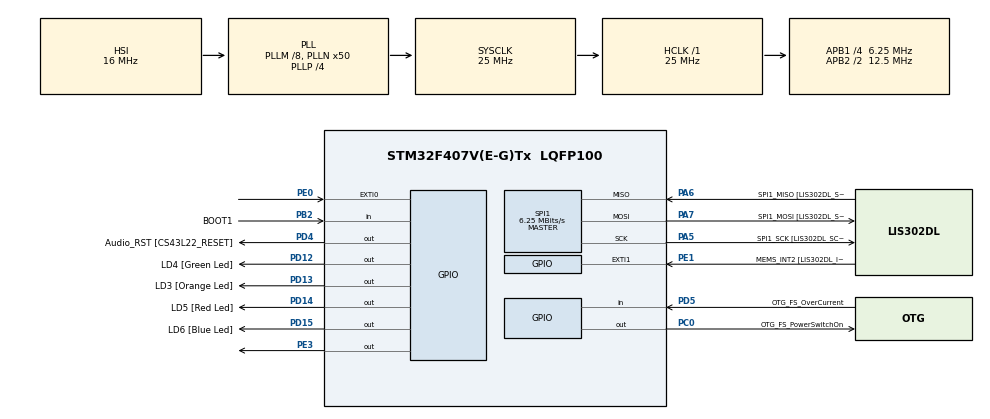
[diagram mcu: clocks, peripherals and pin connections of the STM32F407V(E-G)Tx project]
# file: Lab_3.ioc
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Mcu.Family=STM32F4
Mcu.Name=STM32F407V(E-G)Tx
Mcu.Package=LQFP100
NVIC.EXTI0_IRQn=true\:15\:0\:true\:false\:true\:true\:true\:true
NVIC.PriorityGroup=NVIC_PRIORITYGROUP_4
NVIC.TIM7_IRQn=true\:0\:0\:true\:false\:true\:false\:true\:true
NVIC.TimeBase=TIM7_IRQn
NVIC.TimeBaseIP=TIM7
PA10.GPIO_Label=OTG_FS_ID
PA10.GPIO_Mode=GPIO_MODE_AF_PP
PA10.GPIO_PuPd=GPIO_NOPULL
PA10.GPIO_Speed=GPIO_SPEED_FREQ_LOW
PA10.Signal=USB_OTG_FS_ID
PA11.GPIO_Label=OTG_FS_DM
PA11.GPIO_Mode=GPIO_MODE_AF_PP
PA11.GPIO_PuPd=GPIO_NOPULL
PA11.GPIO_Speed=GPIO_SPEED_FREQ_LOW
PA11.Signal=USB_OTG_FS_DM
PA12.GPIO_Label=OTG_FS_DP
PA12.GPIO_Mode=GPIO_MODE_AF_PP
PA12.GPIO_PuPd=GPIO_NOPULL
PA12.GPIO_Speed=GPIO_SPEED_FREQ_LOW
PA12.Signal=USB_OTG_FS_DP
PA13.GPIO_Label=SWDIO
PA13.Mode=Serial_Wire
PA13.Signal=SYS_JTMS-SWDIO
PA14.GPIO_Label=SWCLK
PA14.Mode=Serial_Wire
PA14.Signal=SYS_JTCK-SWCLK
PA4.GPIO_Label=I2S3_WS [CS43L22_LRCK]
PA4.GPIO_Mode=GPIO_MODE_AF_PP
PA4.GPIO_PuPd=GPIO_NOPULL
PA4.GPIO_Speed=GPIO_SPEED_FREQ_LOW
PA4.Signal=I2S3_WS
PA5.GPIO_Label=SPI1_SCK [LIS302DL_SCL/SPC]
PA5.GPIO_Mode=GPIO_MODE_AF_PP
PA5.GPIO_PuPd=GPIO_NOPULL
PA5.GPIO_Speed=GPIO_SPEED_FREQ_LOW
PA5.Mode=Full_Duplex_Master
PA5.Signal=SPI1_SCK
PA6.GPIO_Label=SPI1_MISO [LIS302DL_SDO]
PA6.GPIO_Mode=GPIO_MODE_AF_PP
PA6.GPIO_PuPd=GPIO_NOPULL
PA6.GPIO_Speed=GPIO_SPEED_FREQ_LOW
PA6.Mode=Full_Duplex_Master
PA6.Signal=SPI1_MISO
PA7.GPIO_Label=SPI1_MOSI [LIS302DL_SDA/SDI/SDO]
PA7.GPIO_Mode=GPIO_MODE_AF_PP
PA7.GPIO_PuPd=GPIO_NOPULL
PA7.GPIO_Speed=GPIO_SPEED_FREQ_LOW
PA7.Mode=Full_Duplex_Master
PA7.Signal=SPI1_MOSI
PA9.GPIO_Label=VBUS_FS
PA9.GPIO_Mode=GPIO_MODE_INPUT
PA9.GPIO_PuPd=GPIO_NOPULL
PA9.Signal=USB_OTG_FS_VBUS
PB10.GPIO_Label=CLK_IN [MP45DT02_CLK]
PB10.GPIO_Mode=GPIO_MODE_AF_PP
PB10.GPIO_PuPd=GPIO_NOPULL
PB10.GPIO_Speed=GPIO_SPEED_FREQ_LOW
PB10.Signal=I2S2_CK
PB2.GPIO_Label=BOOT1
PB2.GPIO_Mode=GPIO_MODE_INPUT
PB2.GPIO_PuPd=GPIO_NOPULL
PB2.Signal=GPIO_Input
PB3.GPIO_Label=SWO
PB3.Signal=SYS_JTDO-SWO
PB6.GPIO_Label=Audio_SCL [CS43L22_SCL]
PB6.GPIO_Mode=GPIO_MODE_AF_OD
PB6.GPIO_PuPd=GPIO_NOPULL
PB6.GPIO_Speed=GPIO_SPEED_FREQ_LOW
PB6.Signal=I2C1_SCL
PB9.GPIO_Label=Audio_SDA [CS43L22_SDA]
PB9.GPIO_Mode=GPIO_MODE_AF_OD
PB9.GPIO_PuPd=GPIO_NOPULL
PB9.GPIO_Speed=GPIO_SPEED_FREQ_LOW
PB9.Signal=I2C1_SDA
PC0.GPIO_Label=OTG_FS_PowerSwitchOn
PC0.GPIO_PuPd=GPIO_NOPULL
PC0.GPIO_Speed=GPIO_SPEED_FREQ_LOW
PC0.PinState=GPIO_PIN_SET
PC0.Signal=GPIO_Output
PC10.GPIO_Label=I2S3_SCK [CS43L22_SCLK]
PC10.GPIO_Mode=GPIO_MODE_AF_PP
PC10.GPIO_PuPd=GPIO_NOPULL
PC10.GPIO_Speed=GPIO_SPEED_FREQ_LOW
PC10.Signal=I2S3_CK
PC12.GPIO_Label=I2S3_SD [CS43L22_SDIN]
PC12.GPIO_Mode=GPIO_MODE_AF_PP
PC12.GPIO_PuPd=GPIO_NOPULL
PC12.GPIO_Speed=GPIO_SPEED_FREQ_LOW
PC12.Signal=I2S3_SD
PC14-OSC32_IN.GPIO_Label=PC14-OSC32_IN
PC14-OSC32_IN.Signal=RCC_OSC32_IN
PC15-OSC32_OUT.GPIO_Label=PC15-OSC32_OUT
PC15-OSC32_OUT.Signal=RCC_OSC32_OUT
PC3.GPIO_Label=PDM_OUT [MP45DT02_DOUT]
PC3.GPIO_Mode=GPIO_MODE_AF_PP
PC3.GPIO_PuPd=GPIO_NOPULL
PC3.GPIO_Speed=GPIO_SPEED_FREQ_LOW
PC3.Signal=I2S2_SD
PC7.GPIO_Label=I2S3_MCK [CS43L22_MCLK]
PC7.GPIO_Mode=GPIO_MODE_AF_PP
PC7.GPIO_PuPd=GPIO_NOPULL
PC7.GPIO_Speed=GPIO_SPEED_FREQ_LOW
PC7.Signal=I2S3_MCK
PD12.GPIO_Label=LD4 [Green Led]
PD12.GPIO_PuPd=GPIO_NOPULL
PD12.GPIO_Speed=GPIO_SPEED_FREQ_LOW
PD12.Signal=GPIO_Output
PD13.GPIO_Label=LD3 [Orange Led]
PD13.GPIO_PuPd=GPIO_NOPULL
PD13.GPIO_Speed=GPIO_SPEED_FREQ_LOW
PD13.Signal=GPIO_Output
PD14.GPIO_Label=LD5 [Red Led]
PD14.GPIO_PuPd=GPIO_NOPULL
PD14.GPIO_Speed=GPIO_SPEED_FREQ_LOW
PD14.Signal=GPIO_Output
PD15.GPIO_Label=LD6 [Blue Led]
PD15.GPIO_PuPd=GPIO_NOPULL
PD15.GPIO_Speed=GPIO_SPEED_FREQ_LOW
PD15.Signal=GPIO_Output
PD4.GPIO_Label=Audio_RST [CS43L22_RESET]
PD4.GPIO_PuPd=GPIO_NOPULL
PD4.GPIO_Speed=GPIO_SPEED_FREQ_LOW
PD4.Signal=GPIO_Output
PD5.GPIO_Label=OTG_FS_OverCurrent
PD5.GPIO_Mode=GPIO_MODE_INPUT
PD5.GPIO_PuPd=GPIO_NOPULL
PD5.Signal=GPIO_Input
PE0.Signal=GPXTI0
PE1.GPIO_Label=MEMS_INT2 [LIS302DL_INT2]
PE1.GPIO_ModeDefaultEXTI=GPIO_MODE_EVT_RISING
PE1.GPIO_PuPd=GPIO_NOPULL
PE1.Signal=GPXTI1
PE3.Signal=GPIO_Output
PH0-OSC_IN.GPIO_Label=PH0-OSC_IN
PH0-OSC_IN.Signal=RCC_OSC_IN
PH1-OSC_OUT.GPIO_Label=PH1-OSC_OUT
PH1-OSC_OUT.Signal=RCC_OSC_OUT
ProjectManager.HeapSize=0x200
ProjectManager.StackSize=0x400
ProjectManager.TargetToolchain=STM32CubeIDE
RCC.48MHZClocksFreq_Value=14285714.285714285
RCC.AHBFreq_Value=25000000
RCC.APB1CLKDivider=RCC_HCLK_DIV4
RCC.APB1Freq_Value=6250000
RCC.APB1TimFreq_Value=12500000
RCC.APB2CLKDivider=RCC_HCLK_DIV2
RCC.APB2Freq_Value=12500000
RCC.APB2TimFreq_Value=25000000
RCC.CortexFreq_Value=25000000
RCC.HCLKFreq_Value=25000000
RCC.HSE_VALUE=8000000
RCC.HSI_VALUE=16000000
RCC.LSE_VALUE=32768
RCC.PLLM=8
RCC.PLLN=50
RCC.PLLP=RCC_PLLP_DIV4
RCC.PLLQ=7
RCC.SYSCLKFreq_VALUE=25000000
RCC.SYSCLKSource=RCC_SYSCLKSOURCE_PLLCLK
RCC.VCOOutputFreq_Value=100000000
SPI1.CalculateBaudRate=6.25 MBits/s
SPI1.Direction=SPI_DIRECTION_2LINES
SPI1.Mode=SPI_MODE_MASTER
SPI1.VirtualType=VM_MASTER
VP_SYS_VS_tim7.Mode=TIM7
board=STM32F407G-DISC1

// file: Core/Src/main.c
/* USER CODE BEGIN Header */
/**
  ******************************************************************************
  * @file           : main.c
  * @brief          : Main program body
  ******************************************************************************
  * @attention
  *
  * Copyright (c) 2026 STMicroelectronics.
  * All rights reserved.
  *
  * This software is licensed under terms that can be found in the LICENSE file
  * in the root directory of this software component.
  * If no LICENSE file comes with this software, it is provided AS-IS.
  *
  ******************************************************************************
  */
/* USER CODE END Header */
#include "main.h"

SPI_HandleTypeDef hspi1;

/* USER CODE BEGIN PV */
SemaphoreHandle_t xSemaphore = NULL;
/* USER CODE END PV */

void SystemClock_Config(void);
static void MX_GPIO_Init(void);
static void MX_SPI1_Init(void);

/* USER CODE BEGIN 0 */
void HAL_GPIO_EXTI_Callback(uint16_t);

void MEMS_Write(uint8_t address,uint8_t data){
	HAL_GPIO_WritePin(GPIOE, GPIO_PIN_3, GPIO_PIN_RESET);
	HAL_SPI_Transmit(&hspi1,&address,1,10);
	HAL_SPI_Transmit(&hspi1,&data,1,10);
	HAL_GPIO_WritePin(GPIOE, GPIO_PIN_3,GPIO_PIN_SET);
}

void MEMS_Read(uint8_t address,uint8_t *data){
    address |= 0x80;
	HAL_GPIO_WritePin(GPIOE,GPIO_PIN_3,GPIO_PIN_RESET);
	HAL_SPI_Transmit(&hspi1,&address,1,10);
	HAL_SPI_Receive(&hspi1,data,1,10);
	HAL_GPIO_WritePin(GPIOE,GPIO_PIN_3,GPIO_PIN_SET);
}

void LED_Task(void *pvParameter)
{
	for(;;){
		uint8_t data;
		MEMS_Read(LIS3DSH_WHO_AM_I_ADDR,&data);
		if(data == 0x3F){
		  HAL_GPIO_TogglePin(GPIOD, GPIO_PIN_12);
		}
		vTaskDelay(500/portTICK_RATE_MS);
	}

}

void Green_LED_Task(void *pvParameters)
{
	for(;;)
	{
		// blinking GREEN LED
		HAL_GPIO_TogglePin(GPIOD, GPIO_PIN_12);
		vTaskDelay(pdMS_TO_TICKS(1000));
	}
}

void vHandlerTask( void *pvParameters )
{
	uint8_t dummy;

	for(;;)
		{
			/* Take the semaphore */
			if( xSemaphoreTake( xSemaphore, portMAX_DELAY ) == pdTRUE )
			{

				// blinking 5 times
				for( uint8_t i = 0 ; i < 10 ; ++i)
				{
					HAL_GPIO_TogglePin(GPIOD, GPIO_PIN_13);
			        uint32_t beginTime = HAL_GetTick();
			        while ((HAL_GetTick() - beginTime) < pdMS_TO_TICKS(250));
				}

				// clean out status
				MEMS_Read(LIS3DSH_OUTS1_ADDR, &dummy);

				// clean interrupt status
				__HAL_GPIO_EXTI_CLEAR_IT(GPIO_PIN_0);
				HAL_NVIC_ClearPendingIRQ(EXTI0_IRQn);

				// enable IRQ
				HAL_NVIC_EnableIRQ(EXTI0_IRQn);
			}

		}
}

void Motion_Interrupt_Init(void)
{
	MEMS_Write(LIS3DSH_CTRL_REG4_ADDR, 0x67);
    MEMS_Write(LIS3DSH_CTRL_REG1_ADDR, 0x01);
    MEMS_Write(LIS3DSH_CTRL_REG3_ADDR, 0x48);

    // threshold(0x40 too sensitive)
    MEMS_Write(LIS3DSH_THRS1_1_ADDR, 0x60);

    // mask P_X/N_X  P_Y/N_Y  P_Z/N_Z
    MEMS_Write(LIS3DSH_MASK1_B_ADDR, 0xFC);
    MEMS_Write(LIS3DSH_MASK1_A_ADDR, 0xFC);

    MEMS_Write(LIS3DSH_SETT1_ADDR, 0x01);

    // state machine
    MEMS_Write(LIS3DSH_ST1_1_ADDR, 0x05); // GNTH1
    MEMS_Write(LIS3DSH_ST1_2_ADDR, 0x11); // CONT
}

/* USER CODE BEGIN PFP */

/* USER CODE END PFP */

/* Private user code ---------------------------------------------------------*/
/* USER CODE BEGIN 0 */

/* USER CODE END 0 */

int main(void)
{

  /* MCU Configuration--------------------------------------------------------*/

  /* Reset of all peripherals, Initializes the Flash interface and the Systick. */
  HAL_Init();

  /* Configure the system clock */
  SystemClock_Config();

  /* Initialize all configured peripherals */
  MX_GPIO_Init();
  MX_SPI1_Init();
  /* USER CODE BEGIN 2 */

  Motion_Interrupt_Init();

  xSemaphore = xSemaphoreCreateBinary();

  if(xSemaphore != NULL) {
      xTaskCreate(Green_LED_Task, "Green_Task", 128, NULL, 1, NULL);
      xTaskCreate(vHandlerTask, "Handler_Task", 128, NULL, 4, NULL); // Higher priority

      vTaskStartScheduler();
  }
  /* USER CODE END 2 */

  /* Infinite loop */
  while (1)
  {

  }
}

void SystemClock_Config(void)
{
  RCC_OscInitTypeDef RCC_OscInitStruct = {0};
  RCC_ClkInitTypeDef RCC_ClkInitStruct = {0};

  /** Configure the main internal regulator output voltage
  */
  __HAL_RCC_PWR_CLK_ENABLE();
  __HAL_PWR_VOLTAGESCALING_CONFIG(PWR_REGULATOR_VOLTAGE_SCALE1);

  /** Initializes the RCC Oscillators according to the specified parameters
  * in the RCC_OscInitTypeDef structure.
  */
  RCC_OscInitStruct.OscillatorType = RCC_OSCILLATORTYPE_HSI;
  RCC_OscInitStruct.HSIState = RCC_HSI_ON;
  RCC_OscInitStruct.HSICalibrationValue = RCC_HSICALIBRATION_DEFAULT;
  RCC_OscInitStruct.PLL.PLLState = RCC_PLL_ON;
  RCC_OscInitStruct.PLL.PLLSource = RCC_PLLSOURCE_HSI;
  RCC_OscInitStruct.PLL.PLLM = 8;
  RCC_OscInitStruct.PLL.PLLN = 50;
  RCC_OscInitStruct.PLL.PLLP = RCC_PLLP_DIV4;
  RCC_OscInitStruct.PLL.PLLQ = 7;
  if (HAL_RCC_OscConfig(&RCC_OscInitStruct) != HAL_OK)
  {
    Error_Handler();
  }

  /** Initializes the CPU, AHB and APB buses clocks
  */
  RCC_ClkInitStruct.ClockType = RCC_CLOCKTYPE_HCLK|RCC_CLOCKTYPE_SYSCLK
                              |RCC_CLOCKTYPE_PCLK1|RCC_CLOCKTYPE_PCLK2;
  RCC_ClkInitStruct.SYSCLKSource = RCC_SYSCLKSOURCE_PLLCLK;
  RCC_ClkInitStruct.AHBCLKDivider = RCC_SYSCLK_DIV1;
  RCC_ClkInitStruct.APB1CLKDivider = RCC_HCLK_DIV4;
  RCC_ClkInitStruct.APB2CLKDivider = RCC_HCLK_DIV2;

  if (HAL_RCC_ClockConfig(&RCC_ClkInitStruct, FLASH_LATENCY_0) != HAL_OK)
  {
    Error_Handler();
  }
}

static void MX_SPI1_Init(void)
{

  /* SPI1 parameter configuration*/
  hspi1.Instance = SPI1;
  hspi1.Init.Mode = SPI_MODE_MASTER;
  hspi1.Init.Direction = SPI_DIRECTION_2LINES;
  hspi1.Init.DataSize = SPI_DATASIZE_8BIT;
  hspi1.Init.CLKPolarity = SPI_POLARITY_LOW;
  hspi1.Init.CLKPhase = SPI_PHASE_1EDGE;
  hspi1.Init.NSS = SPI_NSS_SOFT;
  hspi1.Init.BaudRatePrescaler = SPI_BAUDRATEPRESCALER_2;
  hspi1.Init.FirstBit = SPI_FIRSTBIT_MSB;
  hspi1.Init.TIMode = SPI_TIMODE_DISABLE;
  hspi1.Init.CRCCalculation = SPI_CRCCALCULATION_DISABLE;
  hspi1.Init.CRCPolynomial = 10;
  if (HAL_SPI_Init(&hspi1) != HAL_OK)
  {
    Error_Handler();
  }

}

static void MX_GPIO_Init(void)
{
  GPIO_InitTypeDef GPIO_InitStruct = {0};

  /* GPIO Ports Clock Enable */
  __HAL_RCC_GPIOE_CLK_ENABLE();
  __HAL_RCC_GPIOC_CLK_ENABLE();
  __HAL_RCC_GPIOH_CLK_ENABLE();
  __HAL_RCC_GPIOA_CLK_ENABLE();
  __HAL_RCC_GPIOB_CLK_ENABLE();
  __HAL_RCC_GPIOD_CLK_ENABLE();

  /*Configure GPIO pin Output Level */
  HAL_GPIO_WritePin(GPIOE, GPIO_PIN_3, GPIO_PIN_RESET);

  /*Configure GPIO pin Output Level */
  HAL_GPIO_WritePin(OTG_FS_PowerSwitchOn_GPIO_Port, OTG_FS_PowerSwitchOn_Pin, GPIO_PIN_SET);

  /*Configure GPIO pin Output Level */
  HAL_GPIO_WritePin(GPIOD, LD4_Pin|LD3_Pin|LD5_Pin|LD6_Pin
                          |Audio_RST_Pin, GPIO_PIN_RESET);

  /*Configure GPIO pin : PE3 */
  GPIO_InitStruct.Pin = GPIO_PIN_3;
  GPIO_InitStruct.Mode = GPIO_MODE_OUTPUT_PP;
  GPIO_InitStruct.Pull = GPIO_NOPULL;
  GPIO_InitStruct.Speed = GPIO_SPEED_FREQ_LOW;
  HAL_GPIO_Init(GPIOE, &GPIO_InitStruct);

  /*Configure GPIO pin : OTG_FS_PowerSwitchOn_Pin */
  GPIO_InitStruct.Pin = OTG_FS_PowerSwitchOn_Pin;
  GPIO_InitStruct.Mode = GPIO_MODE_OUTPUT_PP;
  GPIO_InitStruct.Pull = GPIO_NOPULL;
  GPIO_InitStruct.Speed = GPIO_SPEED_FREQ_LOW;
  HAL_GPIO_Init(OTG_FS_PowerSwitchOn_GPIO_Port, &GPIO_InitStruct);

  /*Configure GPIO pin : PDM_OUT_Pin */
  GPIO_InitStruct.Pin = PDM_OUT_Pin;
  GPIO_InitStruct.Mode = GPIO_MODE_AF_PP;
  GPIO_InitStruct.Pull = GPIO_NOPULL;
  GPIO_InitStruct.Speed = GPIO_SPEED_FREQ_LOW;
  GPIO_InitStruct.Alternate = GPIO_AF5_SPI2;
  HAL_GPIO_Init(PDM_OUT_GPIO_Port, &GPIO_InitStruct);

  /*Configure GPIO pin : I2S3_WS_Pin */
  GPIO_InitStruct.Pin = I2S3_WS_Pin;
  GPIO_InitStruct.Mode = GPIO_MODE_AF_PP;
  GPIO_InitStruct.Pull = GPIO_NOPULL;
  GPIO_InitStruct.Speed = GPIO_SPEED_FREQ_LOW;
  GPIO_InitStruct.Alternate = GPIO_AF6_SPI3;
  HAL_GPIO_Init(I2S3_WS_GPIO_Port, &GPIO_InitStruct);

  /*Configure GPIO pin : BOOT1_Pin */
  GPIO_InitStruct.Pin = BOOT1_Pin;
  GPIO_InitStruct.Mode = GPIO_MODE_INPUT;
  GPIO_InitStruct.Pull = GPIO_NOPULL;
  HAL_GPIO_Init(BOOT1_GPIO_Port, &GPIO_InitStruct);

  /*Configure GPIO pin : CLK_IN_Pin */
  GPIO_InitStruct.Pin = CLK_IN_Pin;
  GPIO_InitStruct.Mode = GPIO_MODE_AF_PP;
  GPIO_InitStruct.Pull = GPIO_NOPULL;
  GPIO_InitStruct.Speed = GPIO_SPEED_FREQ_LOW;
  GPIO_InitStruct.Alternate = GPIO_AF5_SPI2;
  HAL_GPIO_Init(CLK_IN_GPIO_Port, &GPIO_InitStruct);

  /*Configure GPIO pins : LD4_Pin LD3_Pin LD5_Pin LD6_Pin
                           Audio_RST_Pin */
  GPIO_InitStruct.Pin = LD4_Pin|LD3_Pin|LD5_Pin|LD6_Pin
                          |Audio_RST_Pin;
  GPIO_InitStruct.Mode = GPIO_MODE_OUTPUT_PP;
  GPIO_InitStruct.Pull = GPIO_NOPULL;
  GPIO_InitStruct.Speed = GPIO_SPEED_FREQ_LOW;
  HAL_GPIO_Init(GPIOD, &GPIO_InitStruct);

  /*Configure GPIO pins : I2S3_MCK_Pin I2S3_SCK_Pin I2S3_SD_Pin */
  GPIO_InitStruct.Pin = I2S3_MCK_Pin|I2S3_SCK_Pin|I2S3_SD_Pin;
  GPIO_InitStruct.Mode = GPIO_MODE_AF_PP;
  GPIO_InitStruct.Pull = GPIO_NOPULL;
  GPIO_InitStruct.Speed = GPIO_SPEED_FREQ_LOW;
  GPIO_InitStruct.Alternate = GPIO_AF6_SPI3;
  HAL_GPIO_Init(GPIOC, &GPIO_InitStruct);

  /*Configure GPIO pin : VBUS_FS_Pin */
  GPIO_InitStruct.Pin = VBUS_FS_Pin;
  GPIO_InitStruct.Mode = GPIO_MODE_INPUT;
  GPIO_InitStruct.Pull = GPIO_NOPULL;
  HAL_GPIO_Init(VBUS_FS_GPIO_Port, &GPIO_InitStruct);

  /*Configure GPIO pins : OTG_FS_ID_Pin OTG_FS_DM_Pin OTG_FS_DP_Pin */
  GPIO_InitStruct.Pin = OTG_FS_ID_Pin|OTG_FS_DM_Pin|OTG_FS_DP_Pin;
  GPIO_InitStruct.Mode = GPIO_MODE_AF_PP;
  GPIO_InitStruct.Pull = GPIO_NOPULL;
  GPIO_InitStruct.Speed = GPIO_SPEED_FREQ_LOW;
  GPIO_InitStruct.Alternate = GPIO_AF10_OTG_FS;
  HAL_GPIO_Init(GPIOA, &GPIO_InitStruct);

  /*Configure GPIO pin : OTG_FS_OverCurrent_Pin */
  GPIO_InitStruct.Pin = OTG_FS_OverCurrent_Pin;
  GPIO_InitStruct.Mode = GPIO_MODE_INPUT;
  GPIO_InitStruct.Pull = GPIO_NOPULL;
  HAL_GPIO_Init(OTG_FS_OverCurrent_GPIO_Port, &GPIO_InitStruct);

  /*Configure GPIO pins : Audio_SCL_Pin Audio_SDA_Pin */
  GPIO_InitStruct.Pin = Audio_SCL_Pin|Audio_SDA_Pin;
  GPIO_InitStruct.Mode = GPIO_MODE_AF_OD;
  GPIO_InitStruct.Pull = GPIO_NOPULL;
  GPIO_InitStruct.Speed = GPIO_SPEED_FREQ_LOW;
  GPIO_InitStruct.Alternate = GPIO_AF4_I2C1;
  HAL_GPIO_Init(GPIOB, &GPIO_InitStruct);

  /*Configure GPIO pin : PE0 */
  GPIO_InitStruct.Pin = GPIO_PIN_0;
  GPIO_InitStruct.Mode = GPIO_MODE_IT_RISING;
  GPIO_InitStruct.Pull = GPIO_NOPULL;
  HAL_GPIO_Init(GPIOE, &GPIO_InitStruct);

  /*Configure GPIO pin : MEMS_INT2_Pin */
  GPIO_InitStruct.Pin = MEMS_INT2_Pin;
  GPIO_InitStruct.Mode = GPIO_MODE_EVT_RISING;
  GPIO_InitStruct.Pull = GPIO_NOPULL;
  HAL_GPIO_Init(MEMS_INT2_GPIO_Port, &GPIO_InitStruct);

  /* EXTI interrupt init*/
  HAL_NVIC_SetPriority(EXTI0_IRQn, 15, 0);
  HAL_NVIC_EnableIRQ(EXTI0_IRQn);

}

/* USER CODE BEGIN 4 */
void HAL_GPIO_EXTI_Callback(uint16_t GPIO_Pin)
{
	// if GPIO_PIN is PIN_0 && xSemaphore is not NULL, then give semaphore(os signal)
	if (GPIO_Pin == GPIO_PIN_0)
	{
	    if (xSemaphore != NULL)
	    {
	    	// RED LED
	    	HAL_GPIO_TogglePin(GPIOD, GPIO_PIN_14);

	    	// Disable IRQ to avoid interrupt interference
	    	HAL_NVIC_DisableIRQ(EXTI0_IRQn);

	    	// Give semaphore
	        BaseType_t xHigherPriorityTaskWoken = pdFALSE;
	        xSemaphoreGiveFromISR( xSemaphore, &xHigherPriorityTaskWoken );
	        portYIELD_FROM_ISR(xHigherPriorityTaskWoken);
	    }
	}
}
/* USER CODE END 4 */

void HAL_TIM_PeriodElapsedCallback(TIM_HandleTypeDef *htim)
{
  if (htim->Instance == TIM7) {
    HAL_IncTick();
  }
}

void Error_Handler(void)
{
  __disable_irq();
  while (1)
  {
  }
}
